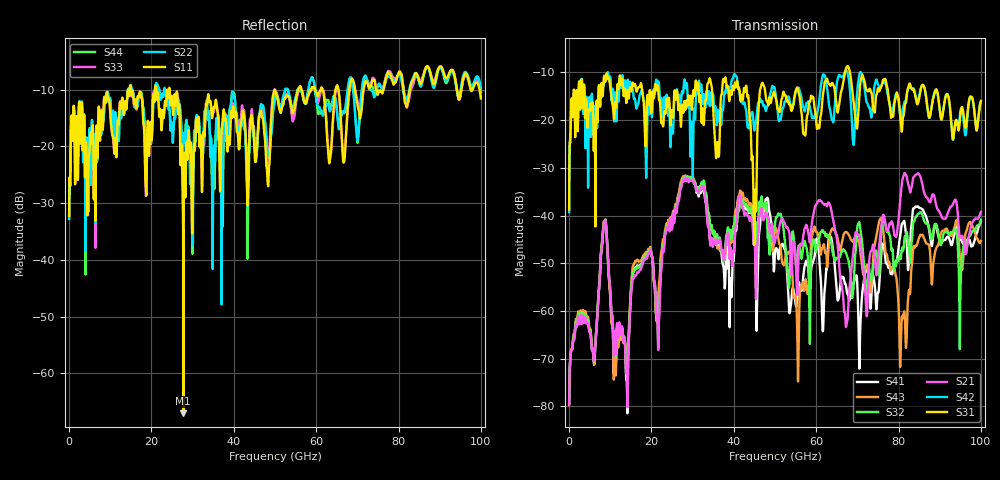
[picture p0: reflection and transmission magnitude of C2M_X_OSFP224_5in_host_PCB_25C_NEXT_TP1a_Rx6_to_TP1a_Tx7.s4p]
# GHz S RI R 45
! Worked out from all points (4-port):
!   4000 points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, 25 MHz to 100 GHz, reference 45 ohm
!   strongest paths, dB at 25 MHz, 25.02 GHz, 50.02 GHz, 75.03 GHz, 100 GHz:
!     S31: -38.7, -17.9, -15.0, -13.3, -16.1
!     S42: -39.3, -21.2, -13.8, -12.5, -15.9
!     S21: -79.6, -42.9, -45.5, -48.6, -39.2
!     S32: -78.7, -41.8, -41.7, -50.5, -40.9
!     S43: -79.8, -41.1, -43.1, -42.4, -45.3
!     S41: -79.3, -42.4, -47.6, -56.1, -41.2
!   lowest |S11| = -67.0 dB at 27.75 GHz (marker M1), VSWR 1.00, Z = 45 - j0.0138 ohm
!   |S11| at or under -10 dB: start of sweep to 14.71 GHz; 15.02 GHz to 20.89 GHz (5.876 GHz wide, 32.7 % of centre); 24.44 GHz to 55.58 GHz (31.14 GHz wide, 77.8 % of centre)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
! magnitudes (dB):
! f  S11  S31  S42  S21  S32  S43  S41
! 25 MHz  -32.2  -38.7  -39.3  -79.6  -78.7  -79.8  -79.3
! 8.6 GHz  -11.3  -10.8  -12.0  -41.7  -41.4  -41.1  -41.4
! 27.75 GHz  -67.0  -18.5  -14.0  -32.6  -32.3  -31.8  -32.1
! 42.9 GHz  -17.9  -13.2  -17.6  -39.4  -37.5  -36.8  -38.4
! 45.08 GHz  -21.5  -41.8  -21.8  -45.1  -43.1  -44.3  -44.0
! 55.5 GHz  -10.3  -13.3  -13.4  -54.5  -47.7  -69.2  -56.5
! 100 GHz  -11.6  -16.1  -15.9  -39.2  -40.9  -45.3  -41.2
